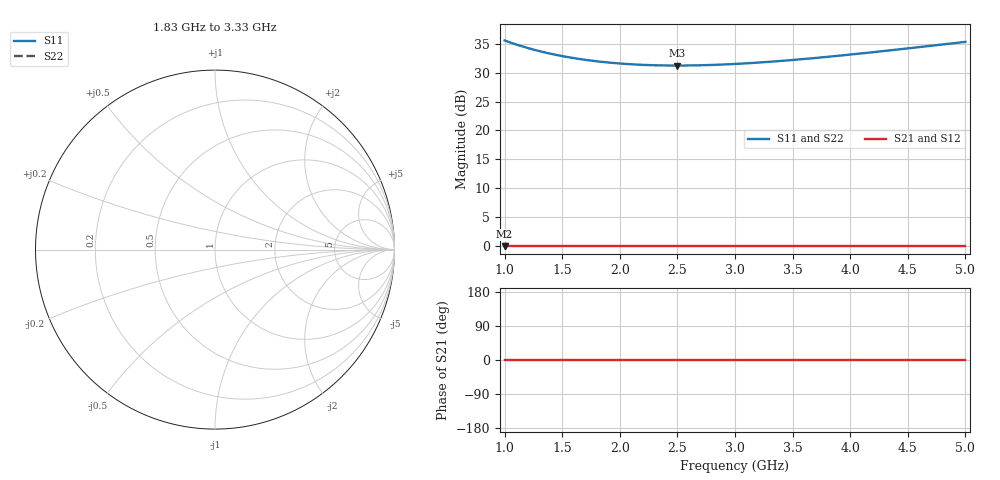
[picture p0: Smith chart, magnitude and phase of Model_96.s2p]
# GHZ S RI R 50
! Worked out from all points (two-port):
!   401 points, 1 GHz to 5 GHz, reference 50 ohm
!   highest |S21| = 0.00 dB at 1 GHz (marker M1); lowest = 0.0 dB at 1 GHz (marker M2)
!   |S21| within 3 dB of the highest: start of sweep to end of sweep
!   lowest |S11| = 31.2 dB at 2.5 GHz (marker M3)
!   |S11| at or under -10 dB: nowhere
!   |S22| runs from 31.2 to 35.6 dB; largest |S21 - S12| = 0
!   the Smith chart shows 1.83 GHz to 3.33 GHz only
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1  59.93 0  1 0  1 0  59.93 0
1.02  58.93 0  1 0  1 0  58.93 0
1.15  53.38 0  1 0  1 0  53.38 0
1.22  50.94 0  1 0  1 0  50.94 0
1.3  48.54 0  1 0  1 0  48.54 0
1.38  46.49 0  1 0  1 0  46.49 0
1.47  44.51 0  1 0  1 0  44.51 0
1.57  42.68 0  1 0  1 0  42.68 0
1.67  41.16 0  1 0  1 0  41.16 0
1.82  39.39 0  1 0  1 0  39.39 0
1.98  38.03 0  1 0  1 0  38.03 0
2.15  37.08 0  1 0  1 0  37.08 0
2.34  36.51 0  1 0  1 0  36.51 0
2.5  36.37 0  1 0  1 0  36.37 0
2.74  36.66 0  1 0  1 0  36.66 0
3  37.54 0  1 0  1 0  37.54 0
3.33  39.4 0  1 0  1 0  39.4 0
3.67  42.04 0  1 0  1 0  42.04 0
4  45.25 0  1 0  1 0  45.25 0
4.34  49.14 0  1 0  1 0  49.14 0
4.64  53.04 0  1 0  1 0  53.04 0
5  58.27 0  1 0  1 0  58.27 0
